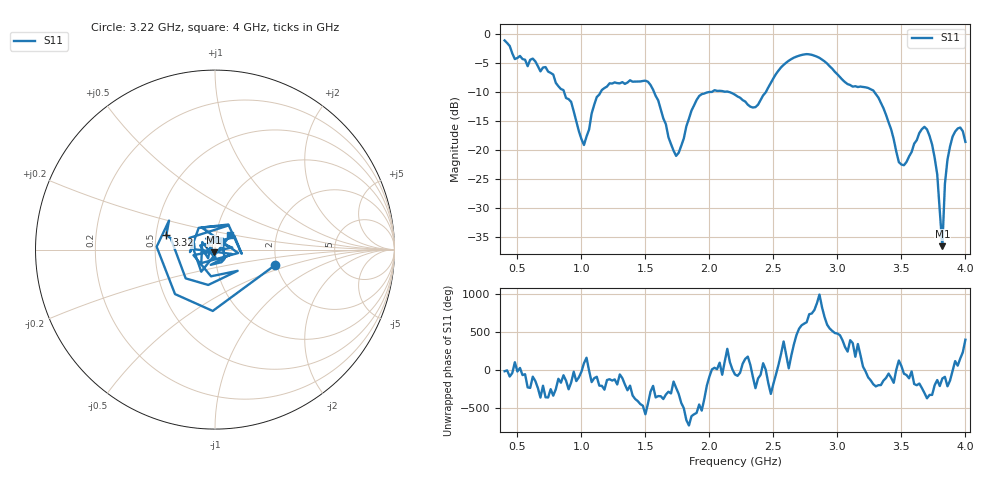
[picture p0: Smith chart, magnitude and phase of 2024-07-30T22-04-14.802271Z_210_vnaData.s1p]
!Created with skrf (http://scikit-rf.org).
# Hz S RI R 50.0
!freq ReS11 ImS11
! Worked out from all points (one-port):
!   181 points, 400 MHz to 4 GHz, reference 50 ohm
!   lowest |S11| = -36.5 dB at 3.82 GHz (marker M1), VSWR 1.03, Z = 49.5 - j1.41 ohm
!   |S11| at or under -10 dB: 1.567 GHz to 2.018 GHz (450.7 MHz wide, 25.1 % of centre); 2.15 GHz to 2.442 GHz (291.5 MHz wide, 12.7 % of centre); 3.288 GHz to end of sweep (the widest 3 of 4)
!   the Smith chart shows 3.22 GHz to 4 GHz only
!   S11 on the Smith chart (normalised r, x): 3.22 GHz: 1.96, -0.38; 3.32 GHz: 0.57, +0.10; 4 GHz: 1.17, +0.19
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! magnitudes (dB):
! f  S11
! 400 MHz  -1.2
! 480 MHz  -4.4
! 620 MHz  -4.3
! 860 MHz  -9.7
! 1.02 GHz  -19.1
! 1.12 GHz  -10.9
! 1.3 GHz  -8.5
! 1.52 GHz  -8.3
! 1.72 GHz  -20.1
! 1.76 GHz  -20.5
! 1.92 GHz  -10.7
! 2.2 GHz  -10.5
! 2.36 GHz  -12.6
! 2.66 GHz  -4.1
! 2.84 GHz  -3.9
! 3.1 GHz  -8.8
! 3.22 GHz  -9.2
! 3.32 GHz  -11.0
! 3.48 GHz  -22.1
! 3.56 GHz  -21.1
! 3.66 GHz  -16.4
! 3.72 GHz  -17.6
! 3.78 GHz  -24.2
! 3.82 GHz  -36.5
! 3.84 GHz  -25.8
! 3.88 GHz  -19.4
! 3.96 GHz  -16.1
! 4 GHz  -18.6
